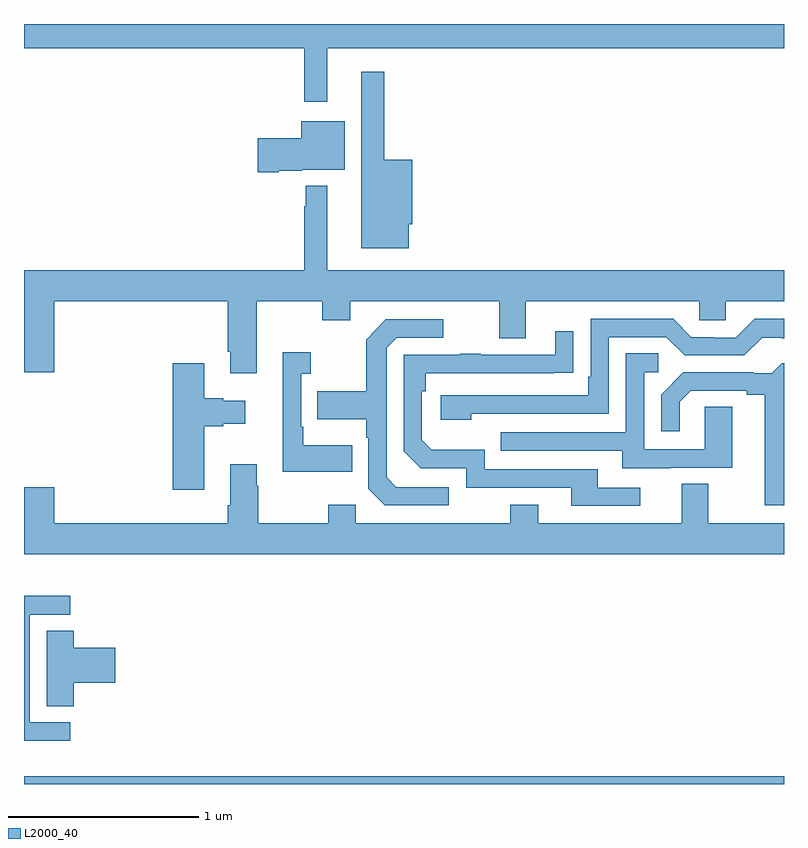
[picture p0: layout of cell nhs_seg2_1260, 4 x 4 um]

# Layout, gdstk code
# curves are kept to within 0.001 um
import gdstk
lib = gdstk.Library(unit=1e-6, precision=1e-09)
def R(c, l, rs):  # rectangles x0, y0, x1, y1
    for r in rs: c.add(gdstk.rectangle(r[:2], r[2:], *l))
def P(c, l, *ps):  # polygons
    for p in ps: c.add(gdstk.Polygon(p, *l))
L2000_40 = (2000, 40)

nhs_seg2_1260 = lib.new_cell('nhs_seg2_1260')
R(nhs_seg2_1260, L2000_40, [(177,607.8,181,607.84)])
P(nhs_seg2_1260, L2000_40, [(178.597,611.672),(181,611.672),(181,611.8),(177,611.8),(177,611.672),(178.476,611.672),(178.476,611.391),(178.597,611.391)],
  [(179.026,610.746),(179.044,610.746),(179.044,611.086),(178.897,611.086),(178.897,611.548),(178.775,611.548),(178.775,610.619),(179.026,610.619)],
  [(178.342,611.027),(178.464,611.027),(178.464,611.033),(178.687,611.033),(178.687,611.287),(178.46,611.287),(178.46,611.199),(178.23,611.199),(178.23,611.021),(178.342,611.021)],
  [(178.225,610.34),(178.57,610.34),(178.57,610.241),(178.717,610.241),(178.717,610.34),(179.501,610.34),(179.501,610.146),(179.641,610.146),(179.641,610.34),(180.555,610.34),(180.555,610.242),(180.693,610.242),(180.693,610.34),(181,610.34),(181,610.504),(178.597,610.504),(178.597,610.948),(178.483,610.948),(178.483,610.841),(178.476,610.841),(178.476,610.504),(177,610.504),(177,609.966),(177.16,609.966),(177.16,610.34),(178.073,610.34),(178.073,610.075),(178.085,610.075),(178.085,609.963),(178.225,609.963)],
  [(179.354,609.75),(180.078,609.75),(180.078,610.152),(180.381,610.152),(180.477,610.056),(180.792,610.056),(180.885,610.149),(180.985,610.149),(180.985,610.145),(181,610.145),(181,610.249),(180.847,610.249),(180.747,610.149),(180.632,610.149),(180.632,610.152),(180.513,610.152),(180.417,610.248),(179.982,610.248),(179.982,609.943),(179.969,609.943),(179.969,609.846),(179.193,609.846),(179.193,609.716),(179.354,609.716)],
  [(179.236,609.363),(178.959,609.363),(178.908,609.414),(178.908,610.095),(178.962,610.149),(179.206,610.149),(179.206,610.245),(178.905,610.245),(178.8,610.139),(178.8,609.867),(178.543,609.867),(178.543,609.719),(178.8,609.719),(178.8,609.623),(178.812,609.623),(178.812,609.354),(178.899,609.267),(179.236,609.267)],
  [(180.244,609.36),(180.019,609.36),(180.019,609.456),(179.424,609.456),(179.424,609.559),(179.147,609.559),(179.094,609.612),(179.094,609.866),(179.114,609.866),(179.114,609.963),(179.891,609.964),(179.891,610.183),(179.795,610.183),(179.795,610.059),(179.405,610.059),(179.405,610.064),(179.293,610.064),(179.293,610.059),(178.998,610.059),(178.998,609.552),(179.088,609.462),(179.328,609.462),(179.328,609.36),(179.879,609.36),(179.879,609.264),(180.244,609.264)],
  [(178.727,609.583),(178.471,609.583),(178.471,609.679),(178.458,609.679),(178.458,609.959),(178.51,609.959),(178.51,610.072),(178.361,610.072),(178.361,609.443),(178.727,609.443)],
  [(180.403,609.465),(180.727,609.465),(180.727,609.785),(180.582,609.785),(180.582,609.561),(180.264,609.561),(180.264,609.966),(180.337,609.966),(180.337,610.067),(180.168,610.067),(180.168,609.651),(179.509,609.651),(179.509,609.555),(180.149,609.555),(180.149,609.461),(180.403,609.461)],
  [(181,610.015),(180.988,610.015),(180.936,609.963),(180.842,609.963),(180.842,609.966),(180.47,609.966),(180.354,609.85),(180.354,609.657),(180.451,609.657),(180.451,609.813),(180.508,609.87),(180.803,609.87),(180.803,609.848),(180.899,609.848),(180.899,609.267),(181,609.267)],
  [(177.949,609.683),(178.049,609.683),(178.049,609.695),(178.165,609.695),(178.165,609.817),(178.049,609.817),(178.049,609.83),(177.949,609.83),(177.949,610.015),(177.782,610.015),(177.782,609.348),(177.949,609.348)],
  [(181,609.172),(180.601,609.172),(180.601,609.38),(180.461,609.38),(180.461,609.172),(179.707,609.172),(179.707,609.271),(179.56,609.271),(179.56,609.172),(178.746,609.172),(178.746,609.271),(178.6,609.271),(178.6,609.172),(178.233,609.172),(178.233,609.371),(178.225,609.371),(178.225,609.484),(178.085,609.484),(178.085,609.268),(178.073,609.268),(178.073,609.172),(177.16,609.172),(177.16,609.361),(177,609.361),(177,609.008),(181,609.008)],
  [(177.244,608.124),(177.03,608.124),(177.03,608.691),(177.244,608.691),(177.244,608.79),(177,608.79),(177,608.028),(177.244,608.028)],
  [(177.263,608.333),(177.481,608.333),(177.481,608.516),(177.263,608.516),(177.263,608.606),(177.119,608.606),(177.119,608.209),(177.263,608.209)])

lib.write_gds('nhs_seg2_1260.gds')
